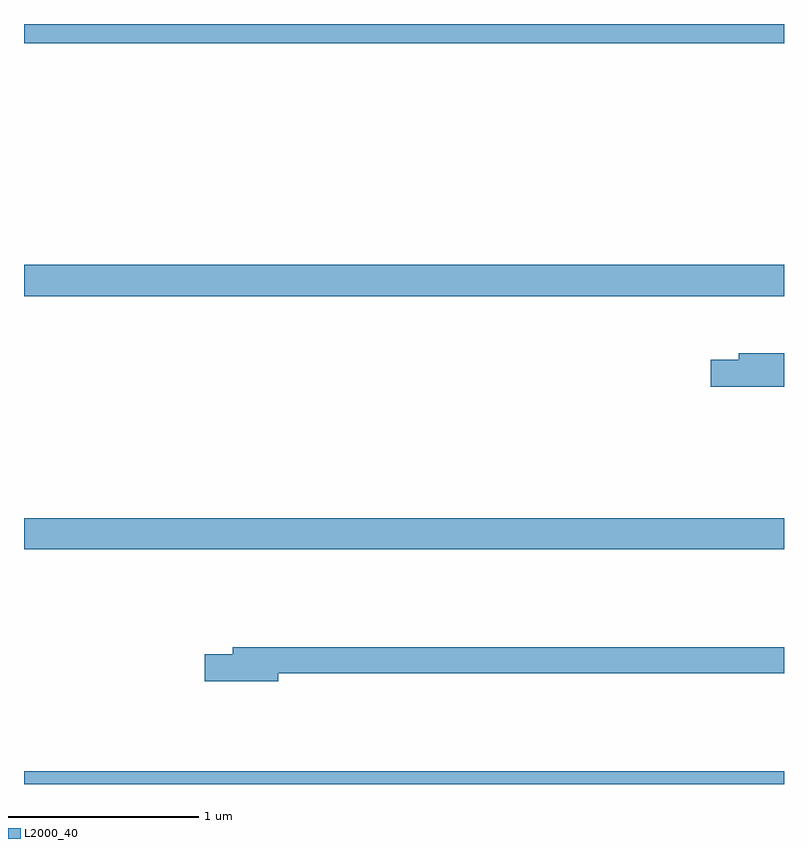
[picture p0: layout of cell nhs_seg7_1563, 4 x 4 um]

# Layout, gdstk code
import gdstk
lib = gdstk.Library(unit=1e-6, precision=1e-09)
def R(c, l, rs):  # rectangles x0, y0, x1, y1
    for r in rs: c.add(gdstk.rectangle(r[:2], r[2:], *l))
def P(c, l, *ps):  # polygons
    for p in ps: c.add(gdstk.Polygon(p, *l))
L2000_40 = (2000, 40)

nhs_seg7_1563 = lib.new_cell('nhs_seg7_1563')
R(nhs_seg7_1563, L2000_40, [(217,1046,221,1046.068), (217,1047.236,221,1047.4), (217,1048.568,221,1048.732), (217,1049.9,221,1050)])
P(nhs_seg7_1563, L2000_40, [(221,1048.267),(220.763,1048.267),(220.763,1048.233),(220.614,1048.233),(220.614,1048.091),(221,1048.091)],
  [(218.338,1046.584),(221,1046.584),(221,1046.72),(218.099,1046.72),(218.099,1046.684),(217.95,1046.684),(217.95,1046.542),(218.338,1046.542)])

lib.write_gds('nhs_seg7_1563.gds')
